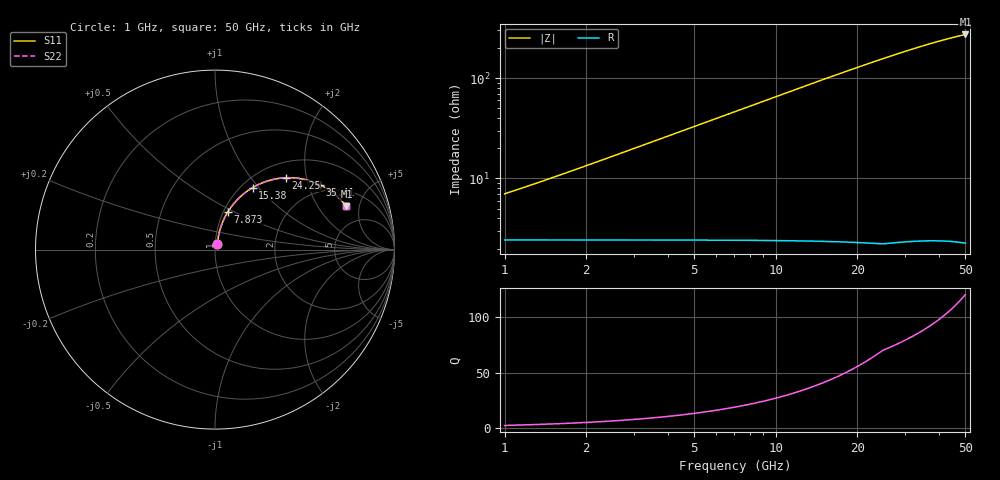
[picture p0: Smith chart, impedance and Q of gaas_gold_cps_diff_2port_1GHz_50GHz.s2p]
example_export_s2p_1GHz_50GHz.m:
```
% Export differential 2-port S-parameters (.s2p) using txlineRLCGLine.
% Frequency range: 1 GHz .. 50 GHz (logspace).
% Line length: 1 mm.
% Assumptions:
%   - Cpul and Lpul constant with frequency
%   - Gpul = 0
%   - Rpul(f) from skin-depth / penetration model
%   - Port reference impedance Z0 = 100 Ohm (differential)

clear; clc;

% Geometry [m]
s = 20e-6;
t_au = 1e-6;
inner_gap = 50e-6;
g = inner_gap / 2;
h = 1e-6;
lineLength = 1e-3; % [m]

% Materials
eps_r_gaas = 12.9;
sigma_au = 4.10e7; % [S/m]

% Frequency sweep
fmin = 1e9;
fmax = 50e9;
Nfreq = 10000;
freq = logspace(log10(fmin), log10(fmax), Nfreq);

% Make root routines visible
this_file = mfilename('fullpath');
this_dir = fileparts(this_file);
repo_root = fileparts(fileparts(this_dir));
addpath(repo_root);

% Quasi-static C and L (constant over frequency)
qs = cps_single_layer_params(s, g, h, eps_r_gaas);
Cpul = qs.C_F_per_m;
Lpul = qs.Z_Ohm^2 * Cpul;

% Frequency-dependent differential Rpul (1xN)
rac = cps_rpul_matrix_skin(freq, s, t_au, sigma_au);
Rpul = rac.Rpul_Ohm_per_m;

% Export Touchstone
outfile = fullfile(this_dir, 'gaas_gold_cps_diff_2port_1GHz_50GHz.s2p');
out = cps_export_s2p_txlineRLCGLine(outfile, fmin, fmax, Nfreq, lineLength, Cpul, Lpul, Rpul, 0);

% Plot
S = out.S2;
S11_dB = 20 * log10(abs(squeeze(S(1, 1, :))));
S21_dB = 20 * log10(abs(squeeze(S(2, 1, :))));

fig = figure('Visible', 'off');
semilogx(freq, S11_dB, 'LineWidth', 1.3); hold on;
semilogx(freq, S21_dB, 'LineWidth', 1.3);
grid on;
xlabel('Frequency [Hz]');
ylabel('Magnitude [dB]');
title('Differential CPS S-parameters (1 GHz .. 50 GHz, 1 mm, Z0 = 100 Ohm)');
legend('|S11|', '|S21|', 'Location', 'best');

plotfile = fullfile(this_dir, 'gaas_gold_cps_diff_2port_1GHz_50GHz_plot.png');
exportgraphics(fig, plotfile, 'Resolution', 180);
close(fig);

fprintf('Touchstone file written:\n%s\n', out.filename);
fprintf('Plot written:\n%s\n', plotfile);
fprintf('lineLength: %.3f mm\n', lineLength * 1e3);
fprintf('f-range: %.3f GHz .. %.3f GHz, N=%d\n', fmin/1e9, fmax/1e9, Nfreq);
fprintf('Z0 normalization: 100 Ohm\n');
```
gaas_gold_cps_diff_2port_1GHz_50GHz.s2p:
# Hz S RI R 100
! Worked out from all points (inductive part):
!   10000 points, 1 GHz to 50 GHz, reference 100 ohm
!   read as one part in series: L = 1.05 nH near 1.111 GHz
!   highest Q = 120 at 50 GHz (marker M1), where L = 867 pH
!   S11 on the Smith chart (normalised r, x): 1 GHz: 1.02, +0.06; 7.873 GHz: 1.05, +0.47; 15.38 GHz: 1.13, +0.93; 24.25 GHz: 1.30, +1.52; 35.41 GHz: 1.74, +2.37; 50 GHz: 3.14, +3.71
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1e9  0.0131 0.0288  0.9869 -0.0355  0.9869 -0.0355  0.0131 0.0288
2.015978e9  0.0162 0.0578  0.9837 -0.0713  0.9837 -0.0713  0.0162 0.0578
3.428145e9  0.0241 0.0975  0.9757 -0.1204  0.9757 -0.1204  0.0241 0.0975
5.359212e9  0.041 0.1495  0.9584 -0.1853  0.9584 -0.1853  0.041 0.1495
7.872749e9  0.0725 0.2117  0.9261 -0.2643  0.9261 -0.2643  0.0725 0.2117
1.123513e10  0.1282 0.2821  0.869 -0.3573  0.869 -0.3573  0.1282 0.2821
1.538222e10  0.2102 0.3458  0.7844 -0.4491  0.7844 -0.4491  0.2102 0.3458
2.424539e10  0.3947 0.4003  0.5917 -0.5646  0.5917 -0.5646  0.3947 0.4003
2.550046e10  0.4191 0.4006  0.5657 -0.5737  0.5657 -0.5737  0.4191 0.4006
3.540836e10  0.583 0.3617  0.3866 -0.6058  0.3866 -0.6058  0.583 0.3617
5e10  0.732 0.2404  0.2021 -0.5963  0.2021 -0.5963  0.732 0.2404
